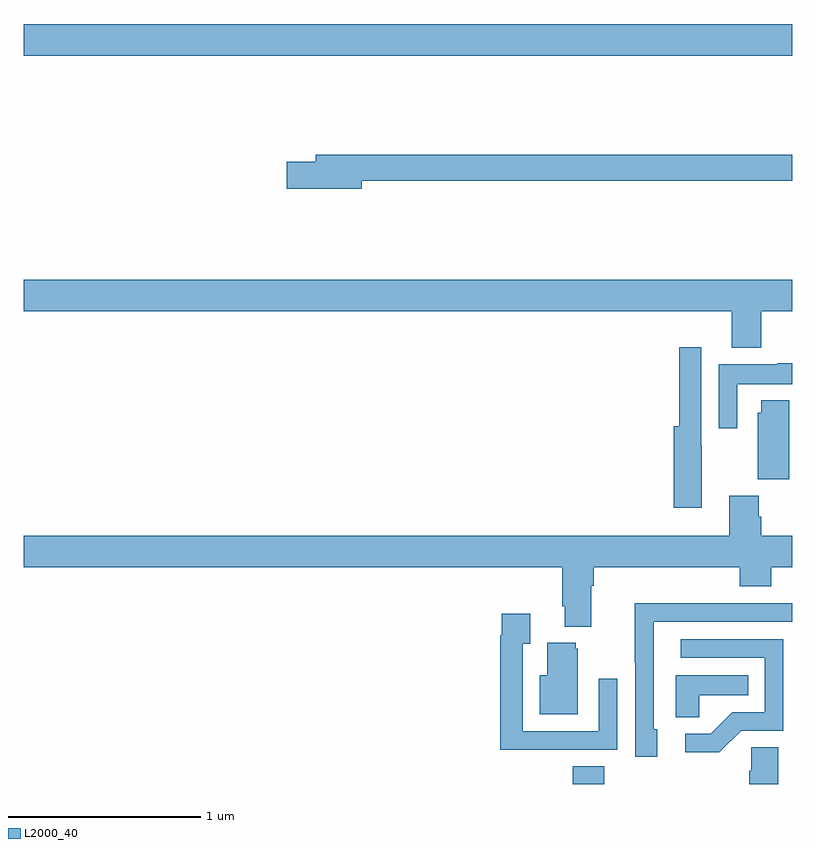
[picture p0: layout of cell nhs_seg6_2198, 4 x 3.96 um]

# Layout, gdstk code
import gdstk
lib = gdstk.Library(unit=1e-6, precision=1e-09)
def R(c, l, rs):  # rectangles x0, y0, x1, y1
    for r in rs: c.add(gdstk.rectangle(r[:2], r[2:], *l))
def P(c, l, *ps):  # polygons
    for p in ps: c.add(gdstk.Polygon(p, *l))
L2000_40 = (2000, 40)

nhs_seg6_2198 = lib.new_cell('nhs_seg6_2198')
R(nhs_seg6_2198, L2000_40, [(243.857,987.5,244.022,987.593), (241,991.292,245,991.456)])
P(nhs_seg6_2198, L2000_40, [(242.758,990.64),(245,990.64),(245,990.776),(242.519,990.776),(242.519,990.74),(242.37,990.74),(242.37,990.598),(242.758,990.598)],
  [(244.838,989.96),(245,989.96),(245,990.124),(241,990.124),(241,989.96),(244.685,989.96),(244.685,989.771),(244.838,989.771)],
  [(244.528,989.258),(244.527,989.258),(244.527,989.773),(244.411,989.773),(244.411,989.362),(244.382,989.362),(244.382,988.938),(244.528,988.938)],
  [(244.713,989.582),(245,989.582),(245,989.689),(244.921,989.689),(244.921,989.686),(244.617,989.686),(244.617,989.352),(244.713,989.352)],
  [(244.984,989.497),(244.838,989.497),(244.838,989.433),(244.82,989.433),(244.82,989.086),(244.984,989.086)],
  [(243.955,988.532),(243.968,988.532),(243.968,988.628),(244.727,988.628),(244.727,988.529),(244.892,988.529),(244.892,988.628),(245,988.628),(245,988.792),(244.838,988.792),(244.838,988.892),(244.825,988.892),(244.825,989.001),(244.673,989.001),(244.673,988.792),(241,988.792),(241,988.628),(243.803,988.628),(243.803,988.426),(243.815,988.426),(243.815,988.319),(243.955,988.319)],
  [(244.297,987.786),(244.278,987.786),(244.278,988.344),(245,988.344),(245,988.44),(244.643,988.44),(244.643,988.442),(244.18,988.442),(244.18,988.135),(244.182,988.135),(244.182,987.642),(244.297,987.642)],
  [(243.773,987.678),(244.089,987.678),(244.089,988.048),(243.993,988.048),(243.993,987.774),(243.597,987.774),(243.597,988.231),(243.637,988.231),(243.637,988.387),(243.489,988.387),(243.489,988.274),(243.481,988.274),(243.481,987.677),(243.773,987.677)],
  [(244.734,987.777),(244.953,987.777),(244.953,988.254),(244.419,988.254),(244.419,988.158),(244.857,988.158),(244.857,987.873),(244.688,987.873),(244.577,987.762),(244.443,987.762),(244.443,987.665),(244.621,987.665)],
  [(243.883,988.203),(243.872,988.203),(243.872,988.234),(243.725,988.234),(243.725,988.066),(243.686,988.066),(243.686,987.863),(243.883,987.863)],
  [(244.515,987.962),(244.772,987.962),(244.772,988.066),(244.394,988.066),(244.394,987.847),(244.515,987.847)],
  [(244.927,987.692),(244.788,987.692),(244.788,987.569),(244.775,987.569),(244.775,987.5),(244.927,987.5)])

lib.write_gds('nhs_seg6_2198.gds')
